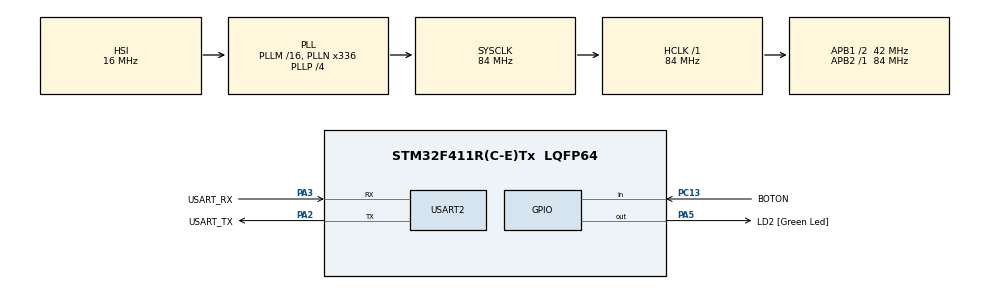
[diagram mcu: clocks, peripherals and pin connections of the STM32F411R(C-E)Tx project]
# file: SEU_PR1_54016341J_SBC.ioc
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Mcu.Family=STM32F4
Mcu.Name=STM32F411R(C-E)Tx
Mcu.Package=LQFP64
NVIC.PriorityGroup=NVIC_PRIORITYGROUP_0
PA13.GPIO_Label=TMS
PA13.Mode=Serial_Wire
PA13.Signal=SYS_JTMS-SWDIO
PA14.GPIO_Label=TCK
PA14.Mode=Serial_Wire
PA14.Signal=SYS_JTCK-SWCLK
PA2.GPIO_Label=USART_TX
PA2.Mode=Asynchronous
PA2.Signal=USART2_TX
PA3.GPIO_Label=USART_RX
PA3.Mode=Asynchronous
PA3.Signal=USART2_RX
PA5.GPIO_Label=LD2 [Green Led]
PA5.Signal=GPIO_Output
PB3.GPIO_Label=SWO
PB3.Signal=SYS_JTDO-SWO
PC13-ANTI_TAMP.GPIO_Label=BOTON
PC13-ANTI_TAMP.GPIO_PuPd=GPIO_PULLUP
PC13-ANTI_TAMP.Signal=GPIO_Input
PC14-OSC32_IN.Mode=LSE-External-Oscillator
PC14-OSC32_IN.Signal=RCC_OSC32_IN
PC15-OSC32_OUT.Mode=LSE-External-Oscillator
PC15-OSC32_OUT.Signal=RCC_OSC32_OUT
PH0\ -\ OSC_IN.Mode=HSE-External-Clock-Source
PH0\ -\ OSC_IN.Signal=RCC_OSC_IN
PH1\ -\ OSC_OUT.Mode=HSE-External-Clock-Source
PH1\ -\ OSC_OUT.Signal=RCC_OSC_OUT
ProjectManager.HeapSize=0x200
ProjectManager.StackSize=0x400
ProjectManager.TargetToolchain=STM32CubeIDE
RCC.48MHZClocksFreq_Value=84000000
RCC.AHBFreq_Value=84000000
RCC.APB1CLKDivider=RCC_HCLK_DIV2
RCC.APB1Freq_Value=42000000
RCC.APB1TimFreq_Value=84000000
RCC.APB2Freq_Value=84000000
RCC.APB2TimFreq_Value=84000000
RCC.CortexFreq_Value=84000000
RCC.FLatency-AdvancedSettings=FLASH_LATENCY_2
RCC.HCLKFreq_Value=84000000
RCC.HSE_VALUE=8000000
RCC.HSI_VALUE=16000000
RCC.PLLN=336
RCC.PLLP=RCC_PLLP_DIV4
RCC.SYSCLKFreq_VALUE=84000000
RCC.SYSCLKSource=RCC_SYSCLKSOURCE_PLLCLK
RCC.VCOOutputFreq_Value=336000000
USART2.VirtualMode=VM_ASYNC
board=NUCLEO-F411RE

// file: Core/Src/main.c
/* USER CODE BEGIN Header */
/**
  ******************************************************************************
  * @file           : main.c
  * @brief          : Main program body
  ******************************************************************************
  * @attention
  *
  * Copyright (c) 2023 STMicroelectronics.
  * All rights reserved.
  *
  * This software is licensed under terms that can be found in the LICENSE file
  * in the root directory of this software component.
  * If no LICENSE file comes with this software, it is provided AS-IS.
  *
  ******************************************************************************
  */
/* USER CODE END Header */
#include "main.h"

UART_HandleTypeDef huart2;

void SystemClock_Config(void);
static void MX_GPIO_Init(void);
static void MX_USART2_UART_Init(void);

int main(void)
{

  /* MCU Configuration--------------------------------------------------------*/

  /* Reset of all peripherals, Initializes the Flash interface and the Systick. */
  HAL_Init();

  /* Configure the system clock */
  SystemClock_Config();

  /* Initialize all configured peripherals */
  MX_GPIO_Init();
  MX_USART2_UART_Init();
  /* USER CODE BEGIN 2 */
  HAL_GPIO_WritePin(LD2_GPIO_Port, LD2_Pin, GPIO_PIN_RESET);

  GPIO_PinState HAL_GPIO_ReadPin(GPIO_TypeDef* GPIOx, uint16_t GPIO_Pin)
  {
    GPIO_PinState bitstatus;

    /* Check the parameters */
    assert_param(IS_GPIO_PIN(GPIO_Pin));

    if((GPIOx->IDR & GPIO_Pin) != (uint32_t)GPIO_PIN_RESET)
    {
      bitstatus = GPIO_PIN_SET;
    }
    else
    {
      bitstatus = GPIO_PIN_RESET;
    }
    return bitstatus;
  }
  GPIO_PinState res;
  res = HAL_GPIO_ReadPin(BOTON_GPIO_Port, BOTON_Pin);

  void statusLED() {
	  // cuantas veces se ha pulsado el boton
	  int count;
	  int encendido;
	  HAL_GPIO_WritePin(LD2_GPIO_Port, LD2_Pin, GPIO_PIN_SET);
	  //Como el led parpadea 5 veces cada segundo, no podemos usarlo para verificar el estado del pin.
	  //Así que usaremos esta variable para controlar el estado.
	  encendido = 1;

	  while(1) {

	  }

  }

  /* USER CODE END 2 */

  /* Infinite loop */
  /* USER CODE BEGIN WHILE */
  //Fuerzo encendido del pin en arranque
  HAL_GPIO_WritePin(LD2_GPIO_Port, LD2_Pin, GPIO_PIN_SET);
  int encendido = 1;

  int count;
  //inicializo estado anterior a no pulsado
  GPIO_PinState previous_state = GPIO_PIN_SET;
  while (1)
  {
	  GPIO_PinState current_state;
	  		  current_state = HAL_GPIO_ReadPin(BOTON_GPIO_Port, BOTON_Pin);
	  		  //cambio de estado, he pulsado el boton
	  		  if(previous_state != current_state && current_state == GPIO_PIN_RESET) {
	  			  count++;
	  			  previous_state = current_state;
	  		  }

	  		  //boton pulsado 2 veces y encendido, apago
	  		  if (count == 2 && encendido == 1) {
	  			  count = 0;
	  			  HAL_GPIO_WritePin(LD2_GPIO_Port, LD2_Pin, GPIO_PIN_RESET);
	  			  encendido = 0;
	  		  }

	  		  //boton pulsado 3 veces y apagado, enciendo
	  		  if (count == 3 && encendido == 0) {
	  			count = 0;
	  			HAL_GPIO_WritePin(LD2_GPIO_Port, LD2_Pin, GPIO_PIN_SET);
	  			encendido = 1;
	  		  }

	  		  //cambio de estado, boton soltado
	  		  if (previous_state != current_state && current_state == GPIO_PIN_SET) {
	  			  previous_state = current_state;
	  		  }

    /* USER CODE END WHILE */

  }
}

void SystemClock_Config(void)
{
  RCC_OscInitTypeDef RCC_OscInitStruct = {0};
  RCC_ClkInitTypeDef RCC_ClkInitStruct = {0};

  /** Configure the main internal regulator output voltage
  */
  __HAL_RCC_PWR_CLK_ENABLE();
  __HAL_PWR_VOLTAGESCALING_CONFIG(PWR_REGULATOR_VOLTAGE_SCALE1);
  /** Initializes the RCC Oscillators according to the specified parameters
  * in the RCC_OscInitTypeDef structure.
  */
  RCC_OscInitStruct.OscillatorType = RCC_OSCILLATORTYPE_HSI;
  RCC_OscInitStruct.HSIState = RCC_HSI_ON;
  RCC_OscInitStruct.HSICalibrationValue = RCC_HSICALIBRATION_DEFAULT;
  RCC_OscInitStruct.PLL.PLLState = RCC_PLL_ON;
  RCC_OscInitStruct.PLL.PLLSource = RCC_PLLSOURCE_HSI;
  RCC_OscInitStruct.PLL.PLLM = 16;
  RCC_OscInitStruct.PLL.PLLN = 336;
  RCC_OscInitStruct.PLL.PLLP = RCC_PLLP_DIV4;
  RCC_OscInitStruct.PLL.PLLQ = 4;
  if (HAL_RCC_OscConfig(&RCC_OscInitStruct) != HAL_OK)
  {
    Error_Handler();
  }
  /** Initializes the CPU, AHB and APB buses clocks
  */
  RCC_ClkInitStruct.ClockType = RCC_CLOCKTYPE_HCLK|RCC_CLOCKTYPE_SYSCLK
                              |RCC_CLOCKTYPE_PCLK1|RCC_CLOCKTYPE_PCLK2;
  RCC_ClkInitStruct.SYSCLKSource = RCC_SYSCLKSOURCE_PLLCLK;
  RCC_ClkInitStruct.AHBCLKDivider = RCC_SYSCLK_DIV1;
  RCC_ClkInitStruct.APB1CLKDivider = RCC_HCLK_DIV2;
  RCC_ClkInitStruct.APB2CLKDivider = RCC_HCLK_DIV1;

  if (HAL_RCC_ClockConfig(&RCC_ClkInitStruct, FLASH_LATENCY_2) != HAL_OK)
  {
    Error_Handler();
  }
}

static void MX_USART2_UART_Init(void)
{

  huart2.Instance = USART2;
  huart2.Init.BaudRate = 115200;
  huart2.Init.WordLength = UART_WORDLENGTH_8B;
  huart2.Init.StopBits = UART_STOPBITS_1;
  huart2.Init.Parity = UART_PARITY_NONE;
  huart2.Init.Mode = UART_MODE_TX_RX;
  huart2.Init.HwFlowCtl = UART_HWCONTROL_NONE;
  huart2.Init.OverSampling = UART_OVERSAMPLING_16;
  if (HAL_UART_Init(&huart2) != HAL_OK)
  {
    Error_Handler();
  }

}

static void MX_GPIO_Init(void)
{
  GPIO_InitTypeDef GPIO_InitStruct = {0};

  /* GPIO Ports Clock Enable */
  __HAL_RCC_GPIOC_CLK_ENABLE();
  __HAL_RCC_GPIOH_CLK_ENABLE();
  __HAL_RCC_GPIOA_CLK_ENABLE();
  __HAL_RCC_GPIOB_CLK_ENABLE();

  /*Configure GPIO pin Output Level */
  HAL_GPIO_WritePin(LD2_GPIO_Port, LD2_Pin, GPIO_PIN_RESET);

  /*Configure GPIO pin : BOTON_Pin */
  GPIO_InitStruct.Pin = BOTON_Pin;
  GPIO_InitStruct.Mode = GPIO_MODE_INPUT;
  GPIO_InitStruct.Pull = GPIO_PULLUP;
  HAL_GPIO_Init(BOTON_GPIO_Port, &GPIO_InitStruct);

  /*Configure GPIO pin : LD2_Pin */
  GPIO_InitStruct.Pin = LD2_Pin;
  GPIO_InitStruct.Mode = GPIO_MODE_OUTPUT_PP;
  GPIO_InitStruct.Pull = GPIO_NOPULL;
  GPIO_InitStruct.Speed = GPIO_SPEED_FREQ_LOW;
  HAL_GPIO_Init(LD2_GPIO_Port, &GPIO_InitStruct);

}

void Error_Handler(void)
{
  __disable_irq();
  while (1)
  {
  }
}
